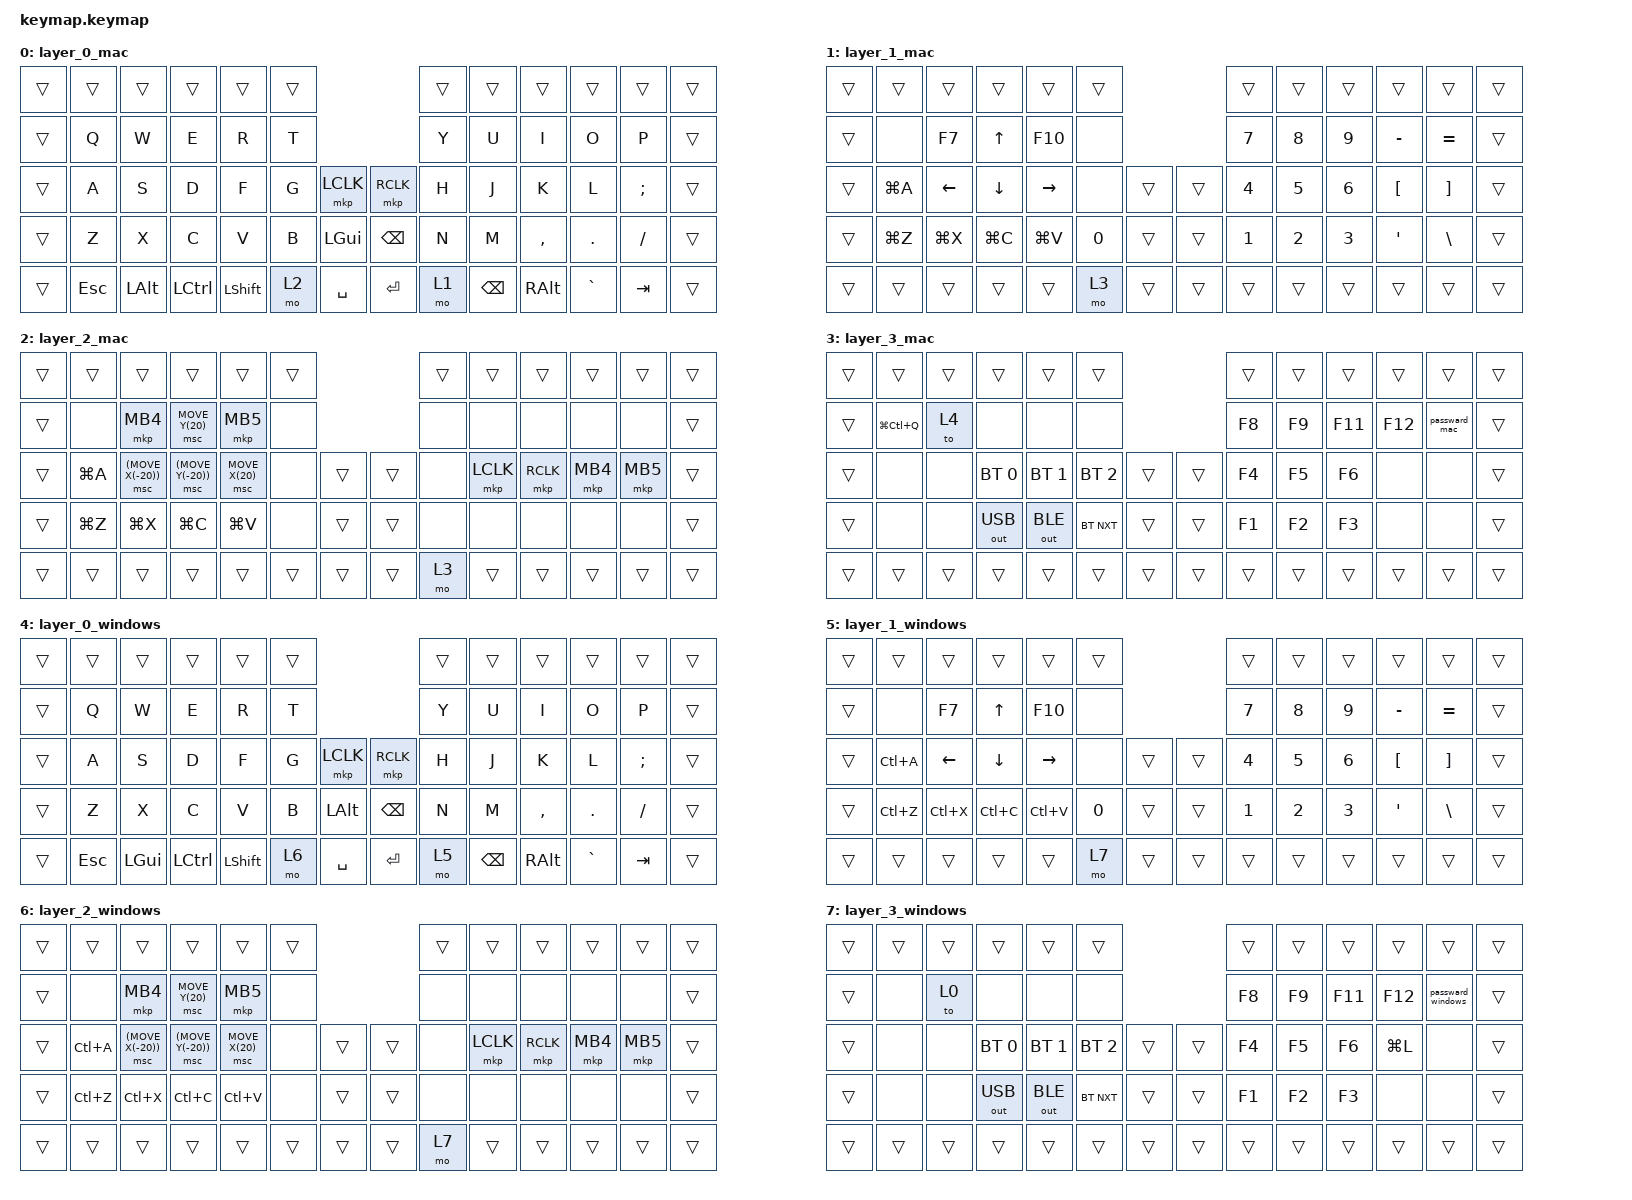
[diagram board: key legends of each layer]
#include <input/processors.dtsi>
#include <dt-bindings/zmk/input_transform.h>
#include <behaviors.dtsi>
#include <dt-bindings/zmk/bt.h>
#include <dt-bindings/zmk/keys.h>
#include <dt-bindings/zmk/outputs.h>
#include <dt-bindings/zmk/pointing.h>

&kscan0 {
    debounce-press-ms = <20>;
    debounce-release-ms = <20>;
};

/ {
    combos {
        compatible = "zmk,combos";

        bt_clear {
            bindings = <&bt BT_CLR_ALL>;
            key-positions = <28 29>;
            layers = <7 3>;
        };

        middleClick {
            bindings = <&mkp MCLK>;
            key-positions = <33 34>;
            layers = <6 2>;
        };
    };

    macros {
        passward_mac: passward {
            compatible = "zmk,behavior-macro";
            #binding-cells = <0>;
            bindings = <&kp P &kp H &kp N2 &kp N5 &kp N0 &kp N3 &kp N0 &kp N0 &kp N0 &kp N6 &kp MINUS &kp N0 &kp N0 &kp N0 &kp N4 &kp ENTER>;
            label = "PASSWARD";
        };

        passward_windows: passward_windows {
            compatible = "zmk,behavior-macro";
            #binding-cells = <0>;
            bindings = <&kp Y &kp O &kp W &kp A &kp N &kp E &kp H &kp A &kp K &kp U &kp ENTER>;
            label = "PASSWARD_WINDOWS";
        };
    };

    keymap {
        compatible = "zmk,keymap";

        layer_0_mac {
            bindings = <
&trans  &trans      &trans        &trans            &trans          &trans                               &trans  &trans    &trans     &trans     &trans     &trans
&trans  &kp Q       &kp W         &kp E             &kp R           &kp T                                &kp Y   &kp U     &kp I      &kp O      &kp P      &trans
&trans  &kp A       &kp S         &kp D             &kp F           &kp G   &mkp LCLK     &mkp RCLK      &kp H   &kp J     &kp K      &kp L      &kp SEMI   &trans
&trans  &kp Z       &kp X         &kp C             &kp V           &kp B   &kp LEFT_GUI  &kp BACKSPACE  &kp N   &kp M     &kp COMMA  &kp DOT    &kp SLASH  &trans
&trans  &kp ESCAPE  &kp LEFT_ALT  &kp LEFT_CONTROL  &kp LEFT_SHIFT  &mo 2   &kp SPACE     &kp ENTER      &mo 1   &kp BSPC  &kp RALT   &kp GRAVE  &kp TAB    &trans
            >;
        };

        layer_1_mac {
            bindings = <
&trans  &trans     &trans          &trans          &trans           &trans                        &trans        &trans        &trans        &trans            &trans             &trans
&trans  &none      &kp F7          &kp UP_ARROW    &kp F10          &none                         &kp NUMBER_7  &kp NUMBER_8  &kp NUMBER_9  &kp MINUS         &kp EQUAL          &trans
&trans  &kp LG(A)  &kp LEFT_ARROW  &kp DOWN_ARROW  &kp RIGHT_ARROW  &none         &trans  &trans  &kp NUMBER_4  &kp NUMBER_5  &kp NUMBER_6  &kp LEFT_BRACKET  &kp RIGHT_BRACKET  &trans
&trans  &kp LG(Z)  &kp LG(X)       &kp LG(C)       &kp LG(V)        &kp NUMBER_0  &trans  &trans  &kp NUMBER_1  &kp NUMBER_2  &kp NUMBER_3  &kp SQT           &kp BACKSLASH      &trans
&trans  &trans     &trans          &trans          &trans           &mo 3         &trans  &trans  &trans        &trans        &trans        &trans            &trans             &trans
            >;
        };

        layer_2_mac {
            bindings = <
&trans  &trans     &trans              &trans              &trans           &trans                  &trans  &trans     &trans     &trans    &trans    &trans
&trans  &none      &mkp MB4            &msc MOVE_Y(20)     &mkp MB5         &none                   &none   &none      &none      &none     &none     &trans
&trans  &kp LG(A)  &msc (MOVE_X(-20))  &msc (MOVE_Y(-20))  &msc MOVE_X(20)  &none   &trans  &trans  &none   &mkp LCLK  &mkp RCLK  &mkp MB4  &mkp MB5  &trans
&trans  &kp LG(Z)  &kp LG(X)           &kp LG(C)           &kp LG(V)        &none   &trans  &trans  &none   &none      &none      &none     &none     &trans
&trans  &trans     &trans              &trans              &trans           &trans  &trans  &trans  &mo 3   &trans     &trans     &trans    &trans    &trans
            >;
        };

        layer_3_mac {
            bindings = <
&trans  &trans         &trans  &trans        &trans        &trans                        &trans  &trans  &trans   &trans   &trans         &trans
&trans  &kp LG(LC(Q))  &to 4   &none         &none         &none                         &kp F8  &kp F9  &kp F11  &kp F12  &passward_mac  &trans
&trans  &none          &none   &bt BT_SEL 0  &bt BT_SEL 1  &bt BT_SEL 2  &trans  &trans  &kp F4  &kp F5  &kp F6   &none    &none          &trans
&trans  &none          &none   &out OUT_USB  &out OUT_BLE  &bt BT_NXT    &trans  &trans  &kp F1  &kp F2  &kp F3   &none    &none          &trans
&trans  &trans         &trans  &trans        &trans        &trans        &trans  &trans  &trans  &trans  &trans   &trans   &trans         &trans
            >;
        };

        layer_0_windows {
            bindings = <
&trans  &trans      &trans    &trans            &trans          &trans                               &trans  &trans    &trans     &trans     &trans     &trans
&trans  &kp Q       &kp W     &kp E             &kp R           &kp T                                &kp Y   &kp U     &kp I      &kp O      &kp P      &trans
&trans  &kp A       &kp S     &kp D             &kp F           &kp G   &mkp LCLK     &mkp RCLK      &kp H   &kp J     &kp K      &kp L      &kp SEMI   &trans
&trans  &kp Z       &kp X     &kp C             &kp V           &kp B   &kp LEFT_ALT  &kp BACKSPACE  &kp N   &kp M     &kp COMMA  &kp DOT    &kp SLASH  &trans
&trans  &kp ESCAPE  &kp LGUI  &kp LEFT_CONTROL  &kp LEFT_SHIFT  &mo 6   &kp SPACE     &kp ENTER      &mo 5   &kp BSPC  &kp RALT   &kp GRAVE  &kp TAB    &trans
            >;
        };

        layer_1_windows {
            bindings = <
&trans  &trans     &trans          &trans          &trans           &trans                        &trans        &trans        &trans        &trans            &trans             &trans
&trans  &none      &kp F7          &kp UP_ARROW    &kp F10          &none                         &kp NUMBER_7  &kp NUMBER_8  &kp NUMBER_9  &kp MINUS         &kp EQUAL          &trans
&trans  &kp LC(A)  &kp LEFT_ARROW  &kp DOWN_ARROW  &kp RIGHT_ARROW  &none         &trans  &trans  &kp NUMBER_4  &kp NUMBER_5  &kp NUMBER_6  &kp LEFT_BRACKET  &kp RIGHT_BRACKET  &trans
&trans  &kp LC(Z)  &kp LC(X)       &kp LC(C)       &kp LC(V)        &kp NUMBER_0  &trans  &trans  &kp NUMBER_1  &kp NUMBER_2  &kp NUMBER_3  &kp SQT           &kp BACKSLASH      &trans
&trans  &trans     &trans          &trans          &trans           &mo 7         &trans  &trans  &trans        &trans        &trans        &trans            &trans             &trans
            >;
        };

        layer_2_windows {
            bindings = <
&trans  &trans     &trans              &trans              &trans           &trans                  &trans  &trans     &trans     &trans    &trans    &trans
&trans  &none      &mkp MB4            &msc MOVE_Y(20)     &mkp MB5         &none                   &none   &none      &none      &none     &none     &trans
&trans  &kp LC(A)  &msc (MOVE_X(-20))  &msc (MOVE_Y(-20))  &msc MOVE_X(20)  &none   &trans  &trans  &none   &mkp LCLK  &mkp RCLK  &mkp MB4  &mkp MB5  &trans
&trans  &kp LC(Z)  &kp LC(X)           &kp LC(C)           &kp LC(V)        &none   &trans  &trans  &none   &none      &none      &none     &none     &trans
&trans  &trans     &trans              &trans              &trans           &trans  &trans  &trans  &mo 7   &trans     &trans     &trans    &trans    &trans
            >;
        };

        layer_3_windows {
            bindings = <
&trans  &trans  &trans  &trans        &trans        &trans                        &trans  &trans  &trans   &trans     &trans             &trans
&trans  &none   &to 0   &none         &none         &none                         &kp F8  &kp F9  &kp F11  &kp F12    &passward_windows  &trans
&trans  &none   &none   &bt BT_SEL 0  &bt BT_SEL 1  &bt BT_SEL 2  &trans  &trans  &kp F4  &kp F5  &kp F6   &kp LG(L)  &none              &trans
&trans  &none   &none   &out OUT_USB  &out OUT_BLE  &bt BT_NXT    &trans  &trans  &kp F1  &kp F2  &kp F3   &none      &none              &trans
&trans  &trans  &trans  &trans        &trans        &trans        &trans  &trans  &trans  &trans  &trans   &trans     &trans             &trans
            >;
        };
    };
};

